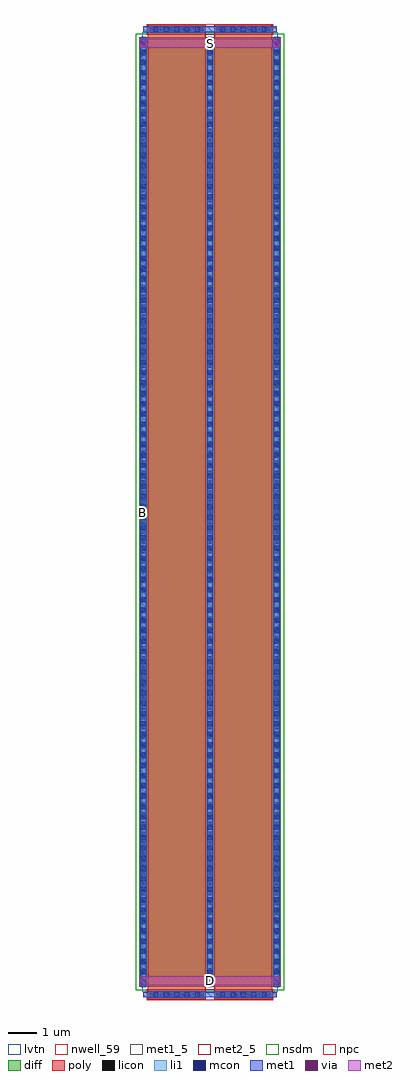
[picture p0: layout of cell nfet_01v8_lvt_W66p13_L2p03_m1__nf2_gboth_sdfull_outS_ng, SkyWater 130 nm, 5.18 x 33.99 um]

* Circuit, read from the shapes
.subckt nfet_01v8_lvt_W66p13_L2p03_m1__nf2_gboth_sdfull_outS_ng B D G S
XM1 D G S B sky130_fd_pr__nfet_01v8_lvt w=33.07 l=2.03 m=2
.ends

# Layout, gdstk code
import gdstk
lib = gdstk.Library(unit=1e-6, precision=1e-09)
def R(c, l, rs):  # rectangles x0, y0, x1, y1
    for r in rs: c.add(gdstk.rectangle(r[:2], r[2:], *l))
def A(c, l, x, y, w, h, nx, ny, dx, dy):  # array of equal rectangles
    R(c, l, [(x+i*dx, y+j*dy, x+i*dx+w, y+j*dy+h) for i in range(nx) for j in range(ny)])
nwell_59 = (64, 59)
diff = (65, 20)
poly = (66, 20)
licon = (66, 44)
li1 = (67, 20)
mcon = (67, 44)
met1_5 = (68, 5)
met1 = (68, 20)
via = (68, 44)
met2_5 = (69, 5)
met2 = (69, 20)
nsdm = (93, 44)
npc = (95, 20)
lvtn = (125, 44)

sky130_fd_pr__nfet_01v8_ = lib.new_cell('sky130_fd_pr__nfet_01v8_lvt_YBHLVD')
R(sky130_fd_pr__nfet_01v8_, diff, [(-2.465,-16.535,2.465,16.535)])
R(sky130_fd_pr__nfet_01v8_, poly, [(-2.175,-16.975,-0.145,16.975), (0.145,-16.975,2.175,16.975)])
A(sky130_fd_pr__nfet_01v8_, licon, -2.095, -16.895, 0.17, 0.17, 6, 2, 0.34, 33.62)
A(sky130_fd_pr__nfet_01v8_, licon, 0.225, -16.895, 0.17, 0.17, 6, 2, 0.34, 33.62)
A(sky130_fd_pr__nfet_01v8_, licon, -2.405, -16.405, 0.17, 0.17, 3, 97, 2.32, 0.34)
A(sky130_fd_pr__nfet_01v8_, li1, -2.405, -16.555, 0.17, 33.11, 3, 1, 2.32, 0)
R(sky130_fd_pr__nfet_01v8_, li1, [(-2.32,-16.895,2.32,-16.725), (-2.32,16.725,2.32,16.895)])
A(sky130_fd_pr__nfet_01v8_, mcon, -1.965, -16.895, 0.17, 0.17, 5, 2, 0.36, 33.62)
A(sky130_fd_pr__nfet_01v8_, mcon, 0.355, -16.895, 0.17, 0.17, 5, 2, 0.36, 33.62)
A(sky130_fd_pr__nfet_01v8_, mcon, -2.405, -16.465, 0.17, 0.17, 3, 92, 2.32, 0.36)
A(sky130_fd_pr__nfet_01v8_, met1, -2.435, -16.535, 0.23, 33.07, 3, 1, 2.32, 0)
R(sky130_fd_pr__nfet_01v8_, met1, [(-2.155,-16.925,-0.165,-16.895), (0.165,-16.925,2.155,-16.895), (-2.32,-16.895,2.32,-16.725), (-2.155,-16.725,-0.165,-16.695), (0.165,-16.725,2.155,-16.695), (-2.155,16.695,-0.165,16.725), (0.165,16.695,2.155,16.725), (-2.32,16.725,2.32,16.895), (-2.155,16.895,-0.165,16.925), (0.165,16.895,2.155,16.925)])
R(sky130_fd_pr__nfet_01v8_, nsdm, [(-2.59,-16.66,2.59,16.66)])
R(sky130_fd_pr__nfet_01v8_, npc, [(-2.195,-16.995,2.195,-16.625), (-2.195,16.625,2.195,16.995)])
R(sky130_fd_pr__nfet_01v8_, lvtn, [(-2.355,-16.715,2.355,16.715)])
sky130_fd_pr__nfet_01v8_.add(gdstk.Label('D0', (-2.32,0), layer=67, texttype=5))
sky130_fd_pr__nfet_01v8_.add(gdstk.Label('G', (1.16,16.81), layer=67, texttype=5))
sky130_fd_pr__nfet_01v8_.add(gdstk.Label('G', (-1.16,16.81), layer=67, texttype=5))
sky130_fd_pr__nfet_01v8_.add(gdstk.Label('S1', (0,0), layer=67, texttype=5))

nfet_01v8_lvt_w66p13_l2p = lib.new_cell('nfet_01v8_lvt_W66p13_L2p03_m1__nf2_gboth_sdfull_outS_ng')
R(nfet_01v8_lvt_w66p13_l2p, nwell_59, [(0.05,16.925,0.15,17.025)])
R(nfet_01v8_lvt_w66p13_l2p, met1_5, [(0.145,33.67,4.785,33.9)])
R(nfet_01v8_lvt_w66p13_l2p, met1, [(2.335,0.49,2.595,0.81), (0.015,33.14,0.275,33.46), (4.655,33.14,4.915,33.46), (0.145,33.67,4.785,33.9)])
R(nfet_01v8_lvt_w66p13_l2p, via, [(2.39,0.575,2.54,0.725), (0.07,33.225,0.22,33.375), (4.71,33.225,4.86,33.375)])
R(nfet_01v8_lvt_w66p13_l2p, met2_5, [(0.01,0.49,4.92,0.81), (0.01,33.14,4.92,33.46)])
R(nfet_01v8_lvt_w66p13_l2p, met2, [(0.01,0.49,4.92,0.81), (0.01,33.14,4.92,33.46)])
nfet_01v8_lvt_w66p13_l2p.add(gdstk.Reference(sky130_fd_pr__nfet_01v8_, (2.465,16.975)))
nfet_01v8_lvt_w66p13_l2p.add(gdstk.Label('S', (2.465,33.3), layer=69, texttype=5))
nfet_01v8_lvt_w66p13_l2p.add(gdstk.Label('D', (2.465,0.65), layer=69, texttype=5))
nfet_01v8_lvt_w66p13_l2p.add(gdstk.Label('G', (2.465,33.785), layer=68, texttype=5))
nfet_01v8_lvt_w66p13_l2p.add(gdstk.Label('B', (0.1,16.975), layer=64, texttype=59))

lib.write_gds('nfet_01v8_lvt_W66p13_L2p03_m1__nf2_gboth_sdfull_outS_ng.gds')
